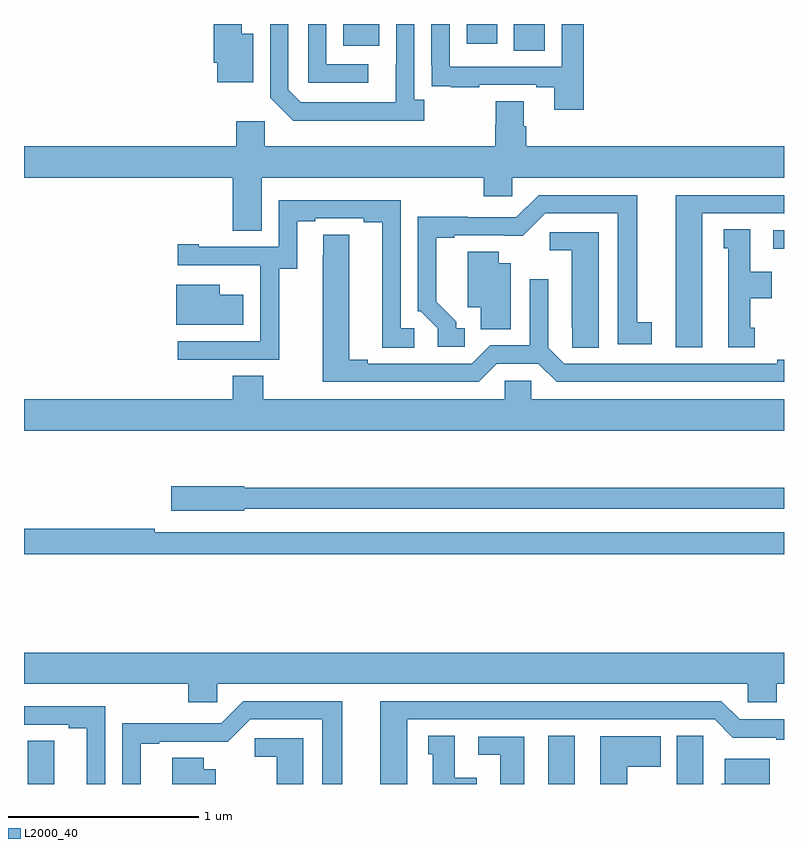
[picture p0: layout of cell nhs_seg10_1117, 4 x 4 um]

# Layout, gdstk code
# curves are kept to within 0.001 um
import gdstk
lib = gdstk.Library(unit=1e-6, precision=1e-09)
def R(c, l, rs):  # rectangles x0, y0, x1, y1
    for r in rs: c.add(gdstk.rectangle(r[:2], r[2:], *l))
def P(c, l, *ps):  # polygons
    for p in ps: c.add(gdstk.Polygon(p, *l))
L2000_40 = (2000, 40)

nhs_seg10_1117 = lib.new_cell('nhs_seg10_1117')
R(nhs_seg10_1117, L2000_40, [(171.758,1254.5,171.898,1254.755), (172.944,1257.318,173,1257.414), (171.578,1258.36,171.742,1258.5), (170.681,1258.385,170.869,1258.5), (171.329,1258.395,171.49,1258.5)])
P(nhs_seg10_1117, L2000_40, [(171.947,1258.5),(171.831,1258.5),(171.831,1258.275),(171.24,1258.275),(171.24,1258.5),(171.144,1258.5),(171.144,1258.282),(171.145,1258.282),(171.145,1258.173),(171.247,1258.173),(171.247,1258.167),(171.395,1258.167),(171.395,1258.179),(171.695,1258.179),(171.695,1258.167),(171.791,1258.167),(171.791,1258.05),(171.947,1258.05)],
  [(170.206,1258.45),(170.146,1258.45),(170.146,1258.5),(169.999,1258.5),(169.999,1258.297),(170.018,1258.297),(170.018,1258.193),(170.206,1258.193)],
  [(170.812,1258.287),(170.592,1258.287),(170.592,1258.5),(170.496,1258.5),(170.496,1258.191),(170.812,1258.191)],
  [(171.106,1258.102),(171.054,1258.102),(171.054,1258.5),(170.958,1258.5),(170.957,1258.089),(170.457,1258.089),(170.391,1258.155),(170.391,1258.5),(170.295,1258.5),(170.295,1258.113),(170.416,1257.992),(171.106,1257.992)],
  [(170.251,1257.692),(171.419,1257.692),(171.419,1257.594),(171.57,1257.594),(171.57,1257.692),(173,1257.692),(173,1257.856),(171.644,1257.856),(171.644,1257.962),(171.631,1257.962),(171.631,1258.094),(171.484,1258.094),(171.484,1257.969),(171.479,1257.969),(171.479,1257.856),(170.268,1257.856),(170.268,1257.988),(170.117,1257.988),(170.117,1257.856),(169,1257.856),(169,1257.692),(170.099,1257.692),(170.099,1257.412),(170.251,1257.412)],
  [(171.319,1256.898),(171.274,1256.898),(171.274,1256.933),(171.169,1257.038),(171.169,1257.375),(171.265,1257.375),(171.265,1257.387),(171.626,1257.386),(171.744,1257.504),(172.124,1257.504),(172.124,1256.814),(172.303,1256.814),(172.303,1256.93),(172.228,1256.93),(172.228,1257.6),(171.708,1257.6),(171.591,1257.483),(171.335,1257.483),(171.335,1257.485),(171.072,1257.485),(171.072,1256.988),(171.087,1256.988),(171.177,1256.898),(171.177,1256.802),(171.319,1256.802)],
  [(172.57,1257.504),(173,1257.504),(173,1257.6),(172.43,1257.6),(172.43,1256.799),(172.57,1256.799)],
  [(170.343,1257.211),(170.437,1257.211),(170.437,1257.462),(170.533,1257.462),(170.533,1257.477),(170.789,1257.477),(170.789,1257.457),(170.885,1257.457),(170.885,1256.797),(171.055,1256.797),(171.055,1256.898),(170.982,1256.898),(170.982,1257.573),(170.34,1257.573),(170.34,1257.327),(169.921,1257.327),(169.921,1257.34),(169.809,1257.34),(169.809,1257.231),(170.243,1257.231),(170.243,1257.23),(170.244,1257.23),(170.244,1256.829),(169.809,1256.829),(169.809,1256.733),(170.343,1256.733)],
  [(172.846,1256.901),(172.822,1256.901),(172.822,1257.056),(172.936,1257.056),(172.936,1257.196),(172.822,1257.196),(172.822,1257.419),(172.682,1257.419),(172.682,1257.321),(172.706,1257.321),(172.706,1256.799),(172.846,1256.799)],
  [(172.024,1257.405),(171.768,1257.405),(171.768,1257.308),(171.884,1257.308),(171.884,1256.905),(171.885,1256.905),(171.885,1256.797),(172.024,1256.797)],
  [(171.489,1256.712),(171.707,1256.712),(171.803,1256.616),(173,1256.616),(173,1256.732),(172.964,1256.732),(172.964,1256.712),(171.843,1256.712),(171.759,1256.796),(171.759,1257.157),(171.663,1257.157),(171.663,1256.808),(171.453,1256.808),(171.357,1256.712),(170.809,1256.712),(170.809,1256.732),(170.713,1256.732),(170.713,1257.392),(170.574,1257.392),(170.573,1256.616),(171.393,1256.616)],
  [(171.562,1257.241),(171.499,1257.241),(171.499,1257.302),(171.335,1257.302),(171.335,1257.008),(171.404,1257.008),(171.404,1256.893),(171.562,1256.893)],
  [(170.155,1257.076),(170.029,1257.076),(170.029,1257.127),(169.802,1257.127),(169.802,1256.918),(170.155,1256.918)],
  [(173,1256.524),(171.669,1256.524),(171.669,1256.622),(171.531,1256.622),(171.531,1256.524),(170.259,1256.524),(170.259,1256.648),(170.099,1256.648),(170.099,1256.524),(169,1256.524),(169,1256.36),(173,1256.36)],
  [(170.16,1255.95),(173,1255.95),(173,1256.059),(170.16,1256.059),(170.16,1256.067),(169.776,1256.067),(169.776,1255.937),(170.16,1255.937)],
  [(173,1255.824),(169.688,1255.824),(169.688,1255.844),(169,1255.844),(169,1255.708),(173,1255.708)],
  [(170.016,1255.028),(172.809,1255.028),(172.809,1254.93),(172.961,1254.93),(172.961,1255.028),(173,1255.028),(173,1255.192),(169,1255.192),(169,1255.028),(169.865,1255.028),(169.865,1254.93),(170.016,1254.93)],
  [(169.615,1254.711),(169.711,1254.711),(169.711,1254.723),(170.072,1254.722),(170.19,1254.84),(170.57,1254.84),(170.57,1254.5),(170.674,1254.5),(170.674,1254.936),(170.154,1254.936),(170.037,1254.819),(169.781,1254.819),(169.781,1254.821),(169.518,1254.821),(169.518,1254.5),(169.615,1254.5)],
  [(171.016,1254.84),(172.635,1254.84),(172.731,1254.744),(172.958,1254.744),(172.958,1254.732),(173,1254.732),(173,1254.84),(172.767,1254.84),(172.671,1254.936),(170.876,1254.936),(170.876,1254.5),(171.016,1254.5)],
  [(169.428,1254.909),(169,1254.909),(169,1254.813),(169.235,1254.813),(169.235,1254.793),(169.331,1254.793),(169.331,1254.5),(169.428,1254.5)],
  [(172.576,1254.644),(172.575,1254.644),(172.575,1254.755),(172.436,1254.755),(172.436,1254.5),(172.576,1254.5)],
  [(171.382,1254.532),(171.268,1254.532),(171.268,1254.755),(171.128,1254.755),(171.128,1254.657),(171.152,1254.657),(171.152,1254.5),(171.382,1254.5)],
  [(172.174,1254.592),(172.351,1254.592),(172.351,1254.751),(172.034,1254.751),(172.034,1254.5),(172.174,1254.5)],
  [(171.634,1254.75),(171.39,1254.75),(171.39,1254.654),(171.506,1254.654),(171.506,1254.5),(171.634,1254.5)],
  [(170.47,1254.741),(170.214,1254.741),(170.214,1254.644),(170.33,1254.644),(170.33,1254.5),(170.47,1254.5)],
  [(169.159,1254.728),(169.02,1254.728),(169.02,1254.62),(169.019,1254.62),(169.019,1254.5),(169.159,1254.5)],
  [(170.008,1254.577),(169.945,1254.577),(169.945,1254.638),(169.781,1254.638),(169.781,1254.5),(170.008,1254.5)],
  [(172.924,1254.634),(172.688,1254.634),(172.688,1254.501),(172.67,1254.501),(172.67,1254.5),(172.924,1254.5)])

lib.write_gds('nhs_seg10_1117.gds')
